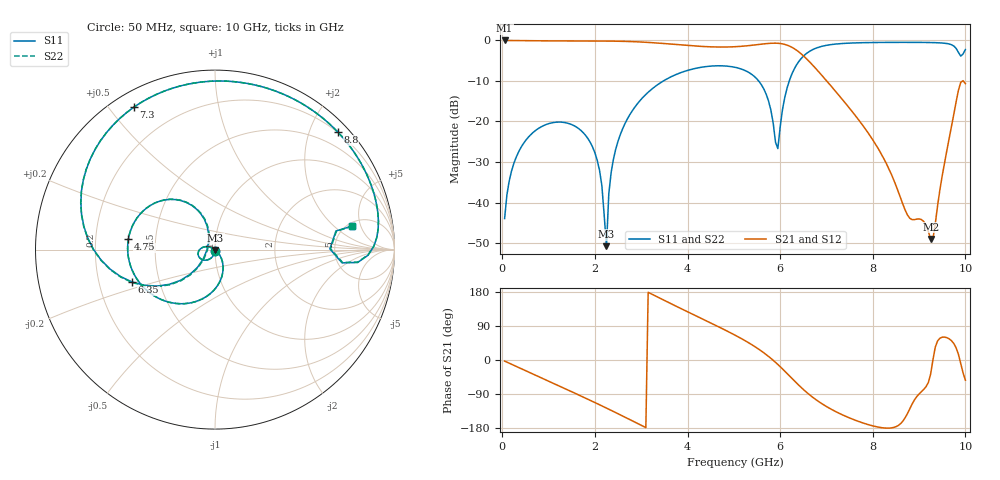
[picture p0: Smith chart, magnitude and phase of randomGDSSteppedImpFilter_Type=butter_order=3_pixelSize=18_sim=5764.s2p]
! freq	dB(S11)	phase(S11)	dB(S12)	phase(S12)
!  dB(S21)	phase(S21)	dB(S22)	phase(S22)
!S-par simulation data
#  GHz  S  DB  R 50
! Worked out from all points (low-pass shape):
!   200 points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, 50 MHz to 10 GHz, reference 50 ohm
!   highest |S21| = 0.00 dB at 50 MHz (marker M1); lowest = -49.0 dB at 9.25 GHz (marker M2)
!   |S21| within 3 dB of the highest: start of sweep to 6.421 GHz
!   lowest |S11| = -50.8 dB at 2.25 GHz (marker M3), VSWR 1.01, Z = 50.1 - j0.268 ohm
!   |S11| at or under -10 dB: start of sweep to 3.478 GHz; 5.535 GHz to 6.197 GHz (662 MHz wide, 11.3 % of centre)
!   |S22| runs from -50.9 to -0.5 dB; largest |S21 - S12| = 0
!   S11 on the Smith chart (normalised r, x): 50 MHz: 1.00, -0.01; 4.75 GHz: 0.35, +0.05; 6.35 GHz: 0.35, -0.17; 7.3 GHz: 0.06, +0.58; 8.8 GHz: 0.19, +2.47; 10 GHz: 5.45, +3.52
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0.05  -43.95 -90.5  -0.00 -2.9  -0.00 -2.9  -43.95 -90.5
0.2  -32.21 -100.5  -0.02 -11.3  -0.02 -11.3  -32.21 -100.5
0.55  -24.04 -121.0  -0.06 -30.8  -0.06 -30.8  -24.04 -121.0
1.75  -22.79 171.6  -0.14 -97.9  -0.14 -97.9  -22.80 171.4
2.1  -32.06 152.4  -0.15 -118.1  -0.15 -118.1  -32.09 151.6
2.25  -50.77 -67.4  -0.16 -126.9  -0.16 -126.9  -50.92 -52.4
2.3  -37.83 -43.9  -0.16 -129.9  -0.16 -129.9  -37.77 -42.2
2.5  -24.84 -53.4  -0.19 -141.8  -0.19 -141.8  -24.82 -53.1
3.4  -10.56 -107.5  -0.68 163.3  -0.68 163.3  -10.56 -107.4
4.75  -6.26 173.3  -1.63 82.8  -1.63 82.8  -6.26 173.2
5.05  -6.70 155.0  -1.53 64.0  -1.53 64.0  -6.69 154.9
5.65  -12.04 114.7  -0.85 18.8  -0.85 18.8  -12.05 114.2
5.95  -26.68 -173.3  -0.70 -11.7  -0.70 -11.7  -27.24 -172.3
6.1  -14.05 -135.3  -0.98 -29.4  -0.98 -29.4  -14.09 -134.3
6.35  -6.11 -158.6  -2.38 -60.2  -2.38 -60.2  -6.12 -158.1
6.7  -2.28 165.1  -6.07 -98.1  -6.07 -98.1  -2.28 165.4
7.3  -0.79 119.6  -13.97 -142.2  -13.97 -142.2  -0.79 119.8
8.35  -0.48 64.2  -31.74 -179.7  -31.74 -179.7  -0.48 64.3
8.8  -0.47 43.8  -43.89 -128.5  -43.89 -128.5  -0.47 43.9
9.25  -0.52 24.0  -49.02 -36.9  -49.02 -36.9  -0.52 24.0
9.85  -2.96 -6.0  -12.29 14.8  -12.29 14.8  -2.92 -5.7
10  -2.25 9.7  -10.66 -53.3  -10.66 -53.3  -2.23 9.6
